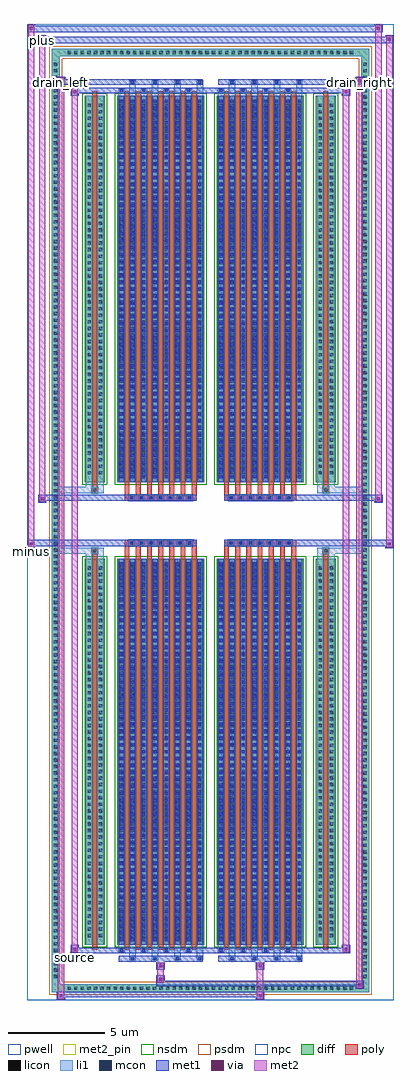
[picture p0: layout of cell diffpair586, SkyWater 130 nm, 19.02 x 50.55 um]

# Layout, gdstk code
import gdstk
lib = gdstk.Library(unit=1e-6, precision=5e-09)
def R(c, l, rs):  # rectangles x0, y0, x1, y1
    for r in rs: c.add(gdstk.rectangle(r[:2], r[2:], *l))
def A(c, l, x, y, w, h, nx, ny, dx, dy):  # array of equal rectangles
    R(c, l, [(x+i*dx, y+j*dy, x+i*dx+w, y+j*dy+h) for i in range(nx) for j in range(ny)])
def P(c, l, *ps):  # polygons
    for p in ps: c.add(gdstk.Polygon(p, *l))
pwell = (64, 44)
diff = (65, 20)
poly = (66, 20)
licon = (66, 44)
li1 = (67, 20)
mcon = (67, 44)
met1 = (68, 20)
via = (68, 44)
met2_pin = (69, 16)
met2 = (69, 20)
nsdm = (93, 44)
psdm = (94, 20)
npc = (95, 20)

diffpair586 = lib.new_cell('diffpair586')
R(diffpair586, pwell, [(-9.49,-24.84,9.49,25.71), (-6.81,-23.03,-0.01,-0.805), (0.01,-23.03,6.81,-0.805), (-6.81,0.805,-0.01,23.03), (0.01,0.805,6.81,23.03)])
A(diffpair586, diff, -7.515, -24.44, 0.41, 0.41, 44, 2, 0.34, 48.47)
A(diffpair586, diff, -8.22, -23.835, 0.41, 0.41, 1, 140, 0, 0.34)
A(diffpair586, diff, 7.81, -23.835, 0.41, 0.41, 1, 140, 0, 0.34)
R(diffpair586, diff, [(-7.515,-24.44,7.515,-24.03), (-8.22,-23.835,-7.81,23.835), (7.81,-23.835,8.22,23.835), (-6.5,-21.985,-5.47,-1.985), (-4.83,-21.985,-0.32,-1.985), (0.32,-21.985,4.83,-1.985), (5.47,-21.985,6.5,-1.985), (-6.5,1.985,-5.47,21.985), (-4.83,1.985,-0.32,21.985), (0.32,1.985,4.83,21.985), (5.47,1.985,6.5,21.985), (-7.515,24.03,7.515,24.44)])
P(diffpair586, diff, [(8.22,24.44),(-8.22,24.44),(-8.22,-24.03),(-7.81,-24.03),(-7.81,24.03),(7.81,24.03),(7.81,-24.03),(-7.81,-24.03),(-8.22,-24.03),(-8.22,-24.44),(8.22,-24.44)])
A(diffpair586, poly, -4.44, -22.235, 0.25, 20.5, 7, 2, 0.58, 23.97)
A(diffpair586, poly, 0.71, -22.235, 0.25, 20.5, 7, 2, 0.58, 23.97)
A(diffpair586, poly, -4.44, -1.735, 0.25, 0.4, 7, 2, 0.58, 3.07)
A(diffpair586, poly, 0.71, -1.735, 0.25, 0.4, 7, 2, 0.58, 3.07)
A(diffpair586, poly, -4.24, -1.335, 0.33, 0.33, 7, 2, 0.5, 2.34)
A(diffpair586, poly, 0.91, -1.335, 0.33, 0.33, 7, 2, 0.5, 2.34)
R(diffpair586, poly, [(-6.11,-22.235,-5.86,-1.735), (5.86,-22.235,6.11,-1.735), (-6.15,-1.735,-5.82,-1.405), (-6.15,-1.735,-5.82,-1.405), (5.82,-1.735,6.15,-1.405), (5.82,-1.735,6.15,-1.405), (-4.44,-1.335,-0.71,-1.005), (0.71,-1.335,4.44,-1.005), (-4.44,1.005,-0.71,1.335), (0.71,1.005,4.44,1.335), (-6.15,1.405,-5.82,1.735), (-6.15,1.405,-5.82,1.735), (5.82,1.405,6.15,1.735), (5.82,1.405,6.15,1.735), (-6.11,1.735,-5.86,22.235), (5.86,1.735,6.11,22.235)])
A(diffpair586, licon, -7.395, -24.32, 0.17, 0.17, 44, 2, 0.34, 48.47)
A(diffpair586, licon, -8.1, -23.715, 0.17, 0.17, 1, 140, 0, 0.34)
A(diffpair586, licon, 7.93, -23.715, 0.17, 0.17, 1, 140, 0, 0.34)
A(diffpair586, licon, -6.36, -21.59, 0.17, 0.17, 1, 57, 0, 0.34)
A(diffpair586, licon, -5.78, -21.59, 0.17, 0.17, 1, 57, 0, 0.34)
A(diffpair586, licon, -4.69, -21.59, 0.17, 0.17, 8, 57, 0.58, 0.34)
A(diffpair586, licon, 0.46, -21.59, 0.17, 0.17, 8, 57, 0.58, 0.34)
A(diffpair586, licon, 5.61, -21.59, 0.17, 0.17, 1, 57, 0, 0.34)
A(diffpair586, licon, 6.19, -21.59, 0.17, 0.17, 1, 57, 0, 0.34)
A(diffpair586, licon, -4.16, -1.255, 0.17, 0.17, 7, 2, 0.5, 2.34)
A(diffpair586, licon, 0.99, -1.255, 0.17, 0.17, 7, 2, 0.5, 2.34)
A(diffpair586, licon, -6.36, 2.38, 0.17, 0.17, 1, 57, 0, 0.34)
A(diffpair586, licon, -5.78, 2.38, 0.17, 0.17, 1, 57, 0, 0.34)
A(diffpair586, licon, -4.69, 2.38, 0.17, 0.17, 8, 57, 0.58, 0.34)
A(diffpair586, licon, 0.46, 2.38, 0.17, 0.17, 8, 57, 0.58, 0.34)
A(diffpair586, licon, 5.61, 2.38, 0.17, 0.17, 1, 57, 0, 0.34)
A(diffpair586, licon, 6.19, 2.38, 0.17, 0.17, 1, 57, 0, 0.34)
R(diffpair586, licon, [(-6.07,-1.655,-5.9,-1.485), (5.9,-1.655,6.07,-1.485), (-6.07,1.485,-5.9,1.655), (5.9,1.485,6.07,1.655)])
A(diffpair586, li1, -7.475, -24.4, 0.33, 0.33, 44, 2, 0.34, 48.47)
A(diffpair586, li1, -8.18, -23.795, 0.33, 0.33, 1, 140, 0, 0.34)
A(diffpair586, li1, 7.85, -23.795, 0.33, 0.33, 1, 140, 0, 0.34)
A(diffpair586, li1, -4.19, -22.79, 0.33, 0.805, 4, 2, 1.16, 44.775)
A(diffpair586, li1, -4.11, -22.79, 0.17, 0.17, 4, 2, 1.16, 45.41)
A(diffpair586, li1, 0.96, -22.79, 0.33, 0.805, 4, 2, 1.16, 44.775)
A(diffpair586, li1, 1.04, -22.79, 0.17, 0.17, 4, 2, 1.16, 45.41)
A(diffpair586, li1, -4.77, -22.36, 0.33, 0.375, 4, 2, 1.16, 44.345)
A(diffpair586, li1, -4.69, -22.36, 0.17, 0.17, 4, 2, 1.16, 44.55)
A(diffpair586, li1, 0.38, -22.36, 0.33, 0.375, 4, 2, 1.16, 44.345)
A(diffpair586, li1, 0.46, -22.36, 0.17, 0.17, 4, 2, 1.16, 44.55)
A(diffpair586, li1, -4.77, -21.985, 0.33, 20, 8, 2, 0.58, 23.97)
A(diffpair586, li1, 0.38, -21.985, 0.33, 20, 8, 2, 0.58, 23.97)
A(diffpair586, li1, -4.69, -21.79, 0.17, 0.17, 8, 55, 0.58, 0.36)
A(diffpair586, li1, -4.69, -21.79, 0.17, 19.61, 8, 2, 0.58, 23.97)
A(diffpair586, li1, 0.46, -21.79, 0.17, 0.17, 8, 55, 0.58, 0.36)
A(diffpair586, li1, 0.46, -21.79, 0.17, 19.61, 8, 2, 0.58, 23.97)
A(diffpair586, li1, -6.44, -21.67, 0.33, 0.33, 1, 57, 0, 0.34)
A(diffpair586, li1, -5.86, -21.67, 0.33, 0.33, 1, 57, 0, 0.34)
A(diffpair586, li1, -4.77, -21.67, 0.33, 0.33, 8, 57, 0.58, 0.34)
A(diffpair586, li1, 0.38, -21.67, 0.33, 0.33, 8, 57, 0.58, 0.34)
A(diffpair586, li1, 5.53, -21.67, 0.33, 0.33, 1, 57, 0, 0.34)
A(diffpair586, li1, 6.11, -21.67, 0.33, 0.33, 1, 57, 0, 0.34)
A(diffpair586, li1, -4.24, -1.335, 0.33, 0.33, 7, 2, 0.5, 2.34)
A(diffpair586, li1, 0.91, -1.335, 0.33, 0.33, 7, 2, 0.5, 2.34)
A(diffpair586, li1, -4.69, 2.18, 0.17, 0.17, 8, 55, 0.58, 0.36)
A(diffpair586, li1, 0.46, 2.18, 0.17, 0.17, 8, 55, 0.58, 0.36)
A(diffpair586, li1, -6.44, 2.3, 0.33, 0.33, 1, 57, 0, 0.34)
A(diffpair586, li1, -5.86, 2.3, 0.33, 0.33, 1, 57, 0, 0.34)
A(diffpair586, li1, -4.77, 2.3, 0.33, 0.33, 8, 57, 0.58, 0.34)
A(diffpair586, li1, 0.38, 2.3, 0.33, 0.33, 8, 57, 0.58, 0.34)
A(diffpair586, li1, 5.53, 2.3, 0.33, 0.33, 1, 57, 0, 0.34)
A(diffpair586, li1, 6.11, 2.3, 0.33, 0.33, 1, 57, 0, 0.34)
R(diffpair586, li1, [(-8.22,-24.44,-7.81,-24.03), (-8.22,-24.44,-7.81,-24.03), (-7.81,-24.44,7.81,-24.03), (7.81,-24.44,8.22,-24.03), (7.81,-24.44,8.22,-24.03), (-8.22,-24.03,-7.81,24.03), (7.81,-24.03,8.22,24.03), (-6.44,-21.985,-6.11,-1.985), (-5.86,-21.985,-5.53,-1.985), (5.53,-21.985,5.86,-1.985), (6.11,-21.985,6.44,-1.985), (-6.44,-1.985,-6.11,-1.405), (-5.86,-1.985,-5.53,-1.405), (5.53,-1.985,5.86,-1.405), (6.11,-1.985,6.44,-1.405), (-8.22,-1.735,-6.15,-1.405), (-6.44,-1.735,-6.15,-1.405), (-6.15,-1.735,-5.82,-1.405), (-5.82,-1.735,-5.53,-1.405), (5.53,-1.735,5.82,-1.405), (5.82,-1.735,6.15,-1.405), (5.82,-1.735,8.22,-1.405), (6.15,-1.735,6.44,-1.405), (-8.22,1.405,-6.15,1.735), (-6.44,1.405,-6.15,1.735), (-6.44,1.405,-6.11,1.985), (-6.15,1.405,-5.82,1.735), (-5.86,1.405,-5.53,1.985), (-5.82,1.405,-5.53,1.735), (5.53,1.405,5.82,1.735), (5.53,1.405,5.86,1.985), (5.82,1.405,6.15,1.735), (5.82,1.405,8.22,1.735), (6.11,1.405,6.44,1.985), (6.15,1.405,6.44,1.735), (-6.44,1.985,-6.11,21.985), (-5.86,1.985,-5.53,21.985), (5.53,1.985,5.86,21.985), (6.11,1.985,6.44,21.985), (-8.22,24.03,-7.81,24.44), (-8.22,24.03,-7.81,24.44), (-7.81,24.03,7.81,24.44), (7.81,24.03,8.22,24.44), (7.81,24.03,8.22,24.44)])
A(diffpair586, mcon, -4.11, -22.79, 0.17, 0.17, 4, 2, 1.16, 45.41)
A(diffpair586, mcon, 1.04, -22.79, 0.17, 0.17, 4, 2, 1.16, 45.41)
A(diffpair586, mcon, -4.69, -22.36, 0.17, 0.17, 4, 2, 1.16, 44.55)
A(diffpair586, mcon, 0.46, -22.36, 0.17, 0.17, 4, 2, 1.16, 44.55)
A(diffpair586, mcon, -4.69, -21.79, 0.17, 0.17, 8, 55, 0.58, 0.36)
A(diffpair586, mcon, 0.46, -21.79, 0.17, 0.17, 8, 55, 0.58, 0.36)
A(diffpair586, mcon, -4.16, -1.255, 0.17, 0.17, 7, 2, 0.5, 2.34)
A(diffpair586, mcon, 0.99, -1.255, 0.17, 0.17, 7, 2, 0.5, 2.34)
A(diffpair586, mcon, -4.69, 2.18, 0.17, 0.17, 8, 55, 0.58, 0.36)
A(diffpair586, mcon, 0.46, 2.18, 0.17, 0.17, 8, 55, 0.58, 0.36)
A(diffpair586, met1, -4.17, -22.85, 0.29, 0.29, 4, 2, 1.16, 45.41)
A(diffpair586, met1, 0.98, -22.85, 0.29, 0.29, 4, 2, 1.16, 45.41)
A(diffpair586, met1, -4.75, -22.42, 0.29, 0.29, 4, 2, 1.16, 44.55)
A(diffpair586, met1, 0.4, -22.42, 0.29, 0.29, 4, 2, 1.16, 44.55)
A(diffpair586, met1, -4.75, -21.985, 0.29, 20, 8, 2, 0.58, 23.97)
A(diffpair586, met1, 0.4, -21.985, 0.29, 20, 8, 2, 0.58, 23.97)
A(diffpair586, met1, -4.75, -21.85, 0.29, 0.29, 8, 55, 0.58, 0.36)
A(diffpair586, met1, 0.4, -21.85, 0.29, 0.29, 8, 55, 0.58, 0.36)
A(diffpair586, met1, -4.22, -1.315, 0.29, 0.29, 7, 2, 0.5, 2.34)
A(diffpair586, met1, 0.93, -1.315, 0.29, 0.29, 7, 2, 0.5, 2.34)
A(diffpair586, met1, -4.75, 2.12, 0.29, 0.29, 8, 55, 0.58, 0.36)
A(diffpair586, met1, 0.4, 2.12, 0.29, 0.29, 8, 55, 0.58, 0.36)
R(diffpair586, met1, [(-7.95,-24.84,-7.52,-24.41), (2.36,-24.84,2.79,-24.41), (-7.95,-24.7,2.79,-24.41), (7.52,-24.27,7.95,-23.84), (-2.79,-24.13,7.95,-23.84), (-2.79,-23.99,-2.36,-23.56), (-2.79,-23.28,-2.36,-22.85), (2.36,-23.28,2.79,-22.85), (-4.75,-22.85,-0.4,-22.56), (0.4,-22.85,4.75,-22.56), (-7.24,-22.42,-6.81,-21.99), (-7.24,-22.42,-4.75,-22.13), (-4.75,-22.42,-0.4,-22.13), (-0.4,-22.42,0.4,-22.13), (0.4,-22.42,4.75,-22.13), (4.75,-22.42,7.24,-22.13), (6.81,-22.42,7.24,-21.99), (-9.49,-1.435,-9.06,-1.005), (9.06,-1.435,9.49,-1.005), (-9.49,-1.335,-0.71,-1.005), (-4.44,-1.335,-0.71,-1.005), (0.71,-1.335,4.44,-1.005), (0.71,-1.335,9.49,-1.005), (-8.92,0.905,-8.49,1.335), (8.49,0.905,8.92,1.335), (-8.92,1.005,-4.44,1.335), (-4.44,1.005,-0.71,1.335), (0.71,1.005,4.44,1.335), (4.44,1.005,8.92,1.335), (-7.24,21.99,-6.81,22.42), (6.81,21.99,7.24,22.42), (-7.24,22.13,-4.75,22.42), (-4.75,22.13,-0.4,22.42), (-0.4,22.13,0.4,22.42), (0.4,22.13,4.75,22.42), (4.75,22.13,7.24,22.42), (-7.95,22.56,-7.52,22.99), (-7.95,22.56,-4.75,22.85), (-4.75,22.56,-0.4,22.85), (0.4,22.56,4.75,22.85), (4.75,22.56,7.95,22.85), (7.52,22.56,7.95,22.99), (-8.92,24.71,-8.49,25.14), (-8.92,24.71,-6.81,25.04), (-6.81,24.71,6.81,25.04), (6.81,24.71,9.49,25.04), (9.06,24.71,9.49,25.14), (-9.49,25.28,-9.06,25.71), (-9.49,25.28,-6.81,25.61), (-6.81,25.28,6.81,25.61), (6.81,25.28,8.92,25.61), (8.49,25.28,8.92,25.71)])
R(diffpair586, via, [(-7.81,-24.7,-7.66,-24.55), (2.5,-24.7,2.65,-24.55), (7.66,-24.13,7.81,-23.98), (-2.65,-23.85,-2.5,-23.7), (-2.65,-23.14,-2.5,-22.99), (2.5,-23.14,2.65,-22.99), (-7.1,-22.28,-6.95,-22.13), (6.95,-22.28,7.1,-22.13), (-9.35,-1.295,-9.2,-1.145), (9.2,-1.295,9.35,-1.145), (-8.78,1.045,-8.63,1.195), (8.63,1.045,8.78,1.195), (-7.1,22.13,-6.95,22.28), (6.95,22.13,7.1,22.28), (-7.81,22.7,-7.66,22.85), (7.66,22.7,7.81,22.85), (-8.78,24.85,-8.63,25), (9.2,24.85,9.35,25), (-9.35,25.42,-9.2,25.57), (8.63,25.42,8.78,25.57)])
R(diffpair586, met2_pin, [(-7.275,-22.87,-6.775,-22.37), (-9.525,-1.885,-9.025,-1.385), (-7.985,22.44,-7.485,22.94), (7.485,22.44,7.985,22.94), (-8.955,24.59,-8.455,25.09)])
R(diffpair586, met2, [(-7.9,-24.79,-7.57,-24.46), (-7.9,-24.79,-7.57,22.94), (2.41,-24.79,2.74,-24.46), (2.41,-24.46,2.74,-23.23), (7.57,-24.22,7.9,-23.89), (7.57,-24.22,7.9,22.94), (-2.74,-23.94,-2.41,-23.61), (-2.74,-23.61,-2.41,-23.23), (-2.74,-23.23,-2.41,-22.9), (2.41,-23.23,2.74,-22.9), (-7.19,-22.37,-6.86,-22.04), (-7.19,-22.37,-6.86,22.37), (6.86,-22.37,7.19,-22.04), (6.86,-22.37,7.19,22.37), (-9.44,-1.385,-9.11,-1.055), (-9.44,-1.385,-9.11,25.66), (9.11,-1.385,9.44,-1.055), (9.11,-1.385,9.44,25.09), (-8.87,0.955,-8.54,1.285), (-8.87,0.955,-8.54,25.09), (8.54,0.955,8.87,1.285), (8.54,0.955,8.87,25.66), (-7.19,22.04,-6.86,22.37), (6.86,22.04,7.19,22.37), (-7.9,22.61,-7.57,22.94), (7.57,22.61,7.9,22.94), (-8.87,24.76,-8.54,25.09), (9.11,24.76,9.44,25.09), (-9.44,25.33,-9.11,25.66), (8.54,25.33,8.87,25.66)])
P(diffpair586, met2, [(9.44,-1.385),(9.44,-1.385),(9.44,-1.055),(9.44,-1.055)],
  [(9.44,24.76),(9.44,24.76),(9.44,25.09),(9.44,25.09)],
  [(-9.11,-1.385),(-9.11,-1.385),(-9.11,-1.055),(-9.11,-1.055)],
  [(-9.11,25.33),(-9.11,25.33),(-9.11,25.66),(-9.11,25.66)],
  [(8.87,0.955),(8.87,0.955),(8.87,1.285),(8.87,1.285)],
  [(8.87,25.33),(8.87,25.33),(8.87,25.66),(8.87,25.66)],
  [(-8.54,0.955),(-8.54,0.955),(-8.54,1.285),(-8.54,1.285)],
  [(-8.54,24.76),(-8.54,24.76),(-8.54,25.09),(-8.54,25.09)],
  [(-7.57,-24.79),(-7.57,-24.79),(-7.57,-24.46),(-7.57,-24.46)],
  [(-7.57,22.61),(-7.57,22.61),(-7.57,22.94),(-7.57,22.94)],
  [(7.9,-24.22),(7.9,-24.22),(7.9,-23.89),(7.9,-23.89)],
  [(7.9,22.61),(7.9,22.61),(7.9,22.94),(7.9,22.94)],
  [(-6.86,-22.37),(-6.86,-22.37),(-6.86,-22.04),(-6.86,-22.04)],
  [(-6.86,22.04),(-6.86,22.04),(-6.86,22.37),(-6.86,22.37)],
  [(7.19,-22.37),(7.19,-22.37),(7.19,-22.04),(7.19,-22.04)],
  [(7.19,22.04),(7.19,22.04),(7.19,22.37),(7.19,22.37)])
R(diffpair586, nsdm, [(-6.63,-22.115,-5.34,-1.855), (-4.96,-22.115,-0.19,-1.855), (0.19,-22.115,4.96,-1.855), (5.34,-22.115,6.63,-1.855), (-6.63,1.855,-5.34,22.115), (-4.96,1.855,-0.19,22.115), (0.19,1.855,4.96,22.115), (5.34,1.855,6.63,22.115)])
P(diffpair586, psdm, [(8.35,24.57),(-8.35,24.57),(-8.35,-23.9),(-7.68,-23.9),(-7.68,23.9),(7.68,23.9),(7.68,-23.9),(-7.68,-23.9),(-8.35,-23.9),(-8.35,-24.57),(8.35,-24.57)])
A(diffpair586, npc, -4.26, -1.355, 0.37, 0.37, 7, 2, 0.5, 2.34)
A(diffpair586, npc, 0.89, -1.355, 0.37, 0.37, 7, 2, 0.5, 2.34)
R(diffpair586, npc, [(-6.17,-1.755,-5.8,-1.385), (5.8,-1.755,6.17,-1.385), (-4.26,-1.355,-3.39,-0.985), (-4.26,-1.355,-3.39,-0.985), (-3.76,-1.355,-2.89,-0.985), (-3.76,-1.355,-2.89,-0.985), (-3.26,-1.355,-2.39,-0.985), (-3.26,-1.355,-2.39,-0.985), (-2.76,-1.355,-1.89,-0.985), (-2.76,-1.355,-1.89,-0.985), (-2.26,-1.355,-1.39,-0.985), (-2.26,-1.355,-1.39,-0.985), (-1.76,-1.355,-0.89,-0.985), (-1.76,-1.355,-0.89,-0.985), (0.89,-1.355,1.76,-0.985), (0.89,-1.355,1.76,-0.985), (1.39,-1.355,2.26,-0.985), (1.39,-1.355,2.26,-0.985), (1.89,-1.355,2.76,-0.985), (1.89,-1.355,2.76,-0.985), (2.39,-1.355,3.26,-0.985), (2.39,-1.355,3.26,-0.985), (2.89,-1.355,3.76,-0.985), (2.89,-1.355,3.76,-0.985), (3.39,-1.355,4.26,-0.985), (3.39,-1.355,4.26,-0.985), (-4.26,0.985,-3.39,1.355), (-4.26,0.985,-3.39,1.355), (-3.76,0.985,-2.89,1.355), (-3.76,0.985,-2.89,1.355), (-3.26,0.985,-2.39,1.355), (-3.26,0.985,-2.39,1.355), (-2.76,0.985,-1.89,1.355), (-2.76,0.985,-1.89,1.355), (-2.26,0.985,-1.39,1.355), (-2.26,0.985,-1.39,1.355), (-1.76,0.985,-0.89,1.355), (-1.76,0.985,-0.89,1.355), (0.89,0.985,1.76,1.355), (0.89,0.985,1.76,1.355), (1.39,0.985,2.26,1.355), (1.39,0.985,2.26,1.355), (1.89,0.985,2.76,1.355), (1.89,0.985,2.76,1.355), (2.39,0.985,3.26,1.355), (2.39,0.985,3.26,1.355), (2.89,0.985,3.76,1.355), (2.89,0.985,3.76,1.355), (3.39,0.985,4.26,1.355), (3.39,0.985,4.26,1.355), (-6.17,1.385,-5.8,1.755), (5.8,1.385,6.17,1.755)])
diffpair586.add(gdstk.Label('minus', (-9.275,-1.635), layer=69, texttype=5))
diffpair586.add(gdstk.Label('drain_right', (7.735,22.69), layer=69, texttype=5))
diffpair586.add(gdstk.Label('drain_left', (-7.735,22.69), layer=69, texttype=5))
diffpair586.add(gdstk.Label('source', (-7.025,-22.62), layer=69, texttype=5))
diffpair586.add(gdstk.Label('plus', (-8.705,24.84), layer=69, texttype=5))

lib.write_gds('diffpair586.gds')
